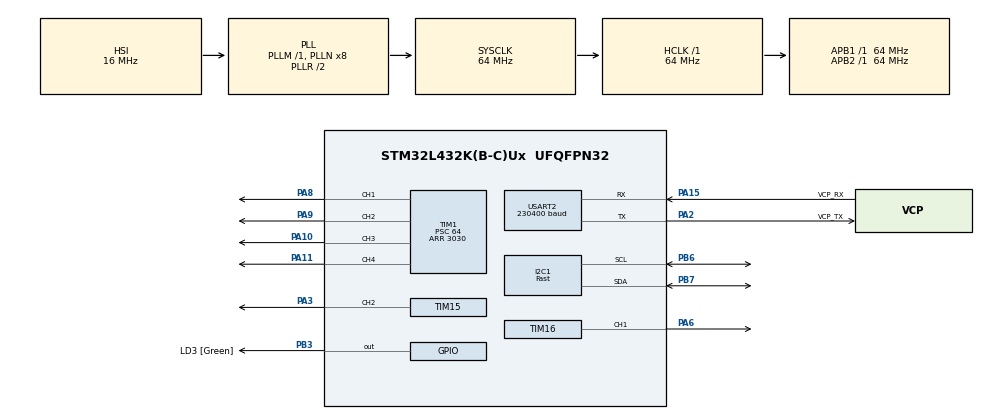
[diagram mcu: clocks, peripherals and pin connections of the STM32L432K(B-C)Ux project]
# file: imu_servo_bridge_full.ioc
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CRC.InputDataFormat=CRC_INPUTDATA_FORMAT_WORDS
I2C1.I2C_Speed_Mode=I2C_Fast
I2C1.Speed=400
I2C1.Timing=0x00602173
Mcu.Family=STM32L4
Mcu.Name=STM32L432K(B-C)Ux
Mcu.Package=UFQFPN32
NVIC.I2C1_ER_IRQn=true\:0\:0\:false\:false\:true\:true\:true\:true
NVIC.I2C1_EV_IRQn=true\:0\:0\:false\:false\:true\:true\:true\:true
NVIC.PriorityGroup=NVIC_PRIORITYGROUP_4
NVIC.TIM6_DAC_IRQn=true\:0\:0\:false\:false\:true\:true\:true\:true
NVIC.USART2_IRQn=true\:0\:0\:false\:false\:true\:true\:true\:true
PA0.GPIO_Label=MCO [High speed clock in]
PA0.Mode=HSE-External-Clock-Source-for-LittleOrca
PA0.Signal=RCC_CK_IN
PA10.Signal=S_TIM1_CH3
PA11.Signal=S_TIM1_CH4
PA13\ (JTMS-SWDIO).GPIO_Label=SWDIO
PA13\ (JTMS-SWDIO).Mode=Serial_Wire
PA13\ (JTMS-SWDIO).Signal=SYS_JTMS-SWDIO
PA14\ (JTCK-SWCLK).GPIO_Label=SWCLK
PA14\ (JTCK-SWCLK).Mode=Serial_Wire
PA14\ (JTCK-SWCLK).Signal=SYS_JTCK-SWCLK
PA15\ (JTDI).GPIO_Label=VCP_RX
PA15\ (JTDI).Mode=Asynchronous
PA15\ (JTDI).Signal=USART2_RX
PA2.GPIO_Label=VCP_TX
PA2.Mode=Asynchronous
PA2.Signal=USART2_TX
PA3.Signal=S_TIM15_CH2
PA6.Signal=S_TIM16_CH1
PA8.Signal=S_TIM1_CH1
PA9.Signal=S_TIM1_CH2
PB3\ (JTDO-TRACESWO).GPIO_Label=LD3 [Green]
PB3\ (JTDO-TRACESWO).Signal=GPIO_Output
PB6.GPIO_Pu=GPIO_PULLUP
PB6.Mode=I2C
PB6.Signal=I2C1_SCL
PB7.GPIO_Pu=GPIO_PULLUP
PB7.Mode=I2C
PB7.Signal=I2C1_SDA
PC14-OSC32_IN\ (PC14).Mode=LSE-External-Oscillator
PC14-OSC32_IN\ (PC14).Signal=RCC_OSC32_IN
PC15-OSC32_OUT\ (PC15).Mode=LSE-External-Oscillator
PC15-OSC32_OUT\ (PC15).Signal=RCC_OSC32_OUT
ProjectManager.HeapSize=0x200
ProjectManager.StackSize=0x400
ProjectManager.TargetToolchain=SW4STM32
RCC.ADCFreq_Value=64000000
RCC.AHBFreq_Value=64000000
RCC.APB1Freq_Value=64000000
RCC.APB1TimFreq_Value=64000000
RCC.APB2Freq_Value=64000000
RCC.APB2TimFreq_Value=64000000
RCC.CortexFreq_Value=64000000
RCC.HCLKFreq_Value=64000000
RCC.HSE_VALUE=8000000
RCC.HSI16_VALUE=16000000
RCC.HSI48_VALUE=48000000
RCC.HSI_VALUE=16000000
RCC.MSI_VALUE=4000000
RCC.PLLMUL=RCC_PLLMUL_4
RCC.PLLSourceVirtual=RCC_PLLSOURCE_HSI
RCC.SYSCLKFreq_VALUE=64000000
RCC.SYSCLKSource=RCC_SYSCLKSOURCE_PLLCLK
RCC.USBFreq_Value=64000000
RCC.VCOOutputFreq_Value=128000000
SH.S_TIM15_CH2.0=TIM15_CH2,PWM Generation2 CH2
SH.S_TIM16_CH1.0=TIM16_CH1,PWM Generation1 CH1
SH.S_TIM1_CH1.0=TIM1_CH1,PWM Generation1 CH1
SH.S_TIM1_CH2.0=TIM1_CH2,PWM Generation2 CH2
SH.S_TIM1_CH3.0=TIM1_CH3,PWM Generation3 CH3
SH.S_TIM1_CH4.0=TIM1_CH4,PWM Generation4 CH4
TIM1.Channel-PWM\ Generation1\ CH1=TIM_CHANNEL_1
TIM1.Channel-PWM\ Generation2\ CH2=TIM_CHANNEL_2
TIM1.Channel-PWM\ Generation3\ CH3=TIM_CHANNEL_3
TIM1.Channel-PWM\ Generation4\ CH4=TIM_CHANNEL_4
TIM1.Period=3030
TIM1.Prescaler=64
TIM15.Channel-PWM\ Generation2\ CH2=TIM_CHANNEL_2
TIM15.Period=3030
TIM15.Prescaler=64
TIM16.Channel=TIM_CHANNEL_1
TIM16.Period=3030
TIM16.Prescaler=64
TIM6.Period=6400
USART2.BaudRate=230400
USART2.DMADisableonRxErrorParam=ADVFEATURE_DMA_DISABLEONRXERROR
USART2.OverrunDisableParam=ADVFEATURE_OVERRUN_DISABLE
USART2.VirtualMode-Asynchronous=VM_ASYNC
VP_CRC_VS_CRC.Mode=CRC_Activate
VP_TIM15_VS_ClockSourceINT.Mode=Internal
VP_TIM16_VS_ClockSourceINT.Mode=Enable_Timer
VP_TIM6_VS_ClockSourceINT.Mode=Enable_Timer
board=NUCLEO-L432KC

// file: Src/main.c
/* USER CODE BEGIN Header */
/**
  ******************************************************************************
  * @file           : main.c
  * @brief          : Main program body
  ******************************************************************************
  * @attention
  *
  * Copyright (c) 2022 STMicroelectronics.
  * All rights reserved.
  *
  * This software is licensed under terms that can be found in the LICENSE file
  * in the root directory of this software component.
  * If no LICENSE file comes with this software, it is provided AS-IS.
  *
  ******************************************************************************
  */
/* USER CODE END Header */
#include "main.h"
#include "crc.h"
#include "i2c.h"
#include "tim.h"
#include "usart.h"
#include "gpio.h"

/* USER CODE BEGIN Includes */
#include "crc.h"
#include "../app/imu_helper.h"
#include "../component/MPU6050/MPU6050.h"
#include <stdint.h>
#include <string.h>
#include <stdio.h>
#include <cmath>
/* USER CODE END Includes */

/* USER CODE BEGIN PD */
 #define max(a,b) \
   ({ __typeof__ (a) _a = (a); \
       __typeof__ (b) _b = (b); \
     _a > _b ? _a : _b; })

 #define min(a,b) \
   ({ __typeof__ (a) _a = (a); \
       __typeof__ (b) _b = (b); \
     _a < _b ? _a : _b; })

/* USER CODE END PD */

void SystemClock_Config(void);

/* USER CODE BEGIN 0 */
#define NUM_PWM_SERVOS 6
#define PWM_SERVO_PACKET_SIZE (NUM_PWM_SERVOS * 2)
#define UART_RX_BUF_SIZE ((PWM_SERVO_PACKET_SIZE + 1) * 3)

volatile uint8_t uart_tx_buf[32] = { 0 },
		         uart_rx_buf[UART_RX_BUF_SIZE] = { 0 },
				 uart_rx_crc_buf[UART_RX_BUF_SIZE] = { 0 };
				 // uart_rx_valid_buf[UART_RX_BUF_SIZE] = { 0 };
volatile uint32_t uart_rx_buf_idx = 0,
		          uart_rx_munched_idx = 0;

extern CRC_HandleTypeDef hcrc;
extern TIM_HandleTypeDef htim1;
extern TIM_HandleTypeDef htim6;
extern TIM_HandleTypeDef htim15;
extern TIM_HandleTypeDef htim16;

volatile uint32_t *servo_ccrs[NUM_PWM_SERVOS] = {
	&TIM1->CCR1,
	&TIM1->CCR2,
	&TIM1->CCR3,
	&TIM1->CCR4,
	&TIM15->CCR2,
	&TIM16->CCR1,
};
/* USER CODE END 0 */

int main(void)
{

  /* MCU Configuration--------------------------------------------------------*/

  /* Reset of all peripherals, Initializes the Flash interface and the Systick. */
  HAL_Init();

  /* Configure the system clock */
  SystemClock_Config();

  /* Initialize all configured peripherals */
  MX_GPIO_Init();
  MX_USART2_UART_Init();
  MX_I2C1_Init();
  MX_TIM6_Init();
  MX_TIM1_Init();
  MX_TIM15_Init();
  MX_TIM16_Init();
  MX_CRC_Init();
  /* USER CODE BEGIN 2 */

  HAL_TIM_Base_Start(&htim1);
  HAL_TIM_Base_Start(&htim6);
  HAL_TIM_Base_Start(&htim15);
  HAL_TIM_Base_Start(&htim16);

  soccerbot::app::initImuProcessor();

  for(uint8_t i = 0; i < NUM_PWM_SERVOS; i++) {
	  *servo_ccrs[i] = 0; // __HAL_TIM_GET_AUTORELOAD(&htim1) / 2;
  }
  htim1.Instance->BDTR |= TIM_BDTR_MOE;
  htim1.Instance->CCER |= TIM_CCER_CC1E | TIM_CCER_CC2E | TIM_CCER_CC3E | TIM_CCER_CC4E;
  htim15.Instance->BDTR |= TIM_BDTR_MOE;
  htim15.Instance->CCER |= TIM_CCER_CC2E;
  htim16.Instance->BDTR |= TIM_BDTR_MOE;
  htim16.Instance->CCER |= TIM_CCER_CC1E;

  /* USER CODE END 2 */

  /* Infinite loop */
  /* USER CODE BEGIN WHILE */
    imu::ImuStruct_t imu_data = { 0 };
	imu::MPU6050 imu(&hi2c1);
	constexpr uint8_t IMU_DIGITAL_LOWPASS_FILTER_SETTING = 6;
	imu.init(IMU_DIGITAL_LOWPASS_FILTER_SETTING);
	uint32_t last_tx_tick = 0, last_rx_tick = 0, num_samples = 0;
	float PACKET_HEADER = NAN; // nanf("");
	for (uint32_t iter = 0;; iter++)
	{
    /* USER CODE END WHILE */

    /* USER CODE BEGIN 3 */
		uint32_t tick = HAL_GetTick();
		if(1) {
			// WRITE BLOCK
			if(tick > last_tx_tick + 1) { // reliable enough 500Hz if most of the time is spent in the busy wait and the conditional stuff doesn't take more than a few 100 us
				last_tx_tick = tick;
				uint8_t valid_gyro = soccerbot::app::readFromSensor(imu, &num_samples);
				imu.Fill_Struct(&imu_data);
				if(valid_gyro) {
					soccerbot::app::processImuData(imu_data);
				}
				if(1) {
					// HAL_UART_Transmit_IT(&huart2, (uint8_t*)&PACKET_HEADER, sizeof(PACKET_HEADER));
					memcpy((void*)uart_tx_buf, &PACKET_HEADER, sizeof(PACKET_HEADER));
					memcpy((void*)(&uart_tx_buf[sizeof(PACKET_HEADER)]), &imu_data.x_Gyro, sizeof(imu_data));
					HAL_UART_Transmit_IT(&huart2, (uint8_t*)uart_tx_buf, sizeof(PACKET_HEADER) + sizeof(imu_data));
				}
				if(0) {
					char buf[64] = { 0 };
					size_t n = sprintf(buf, "%ld\t%.2f\t%.2f\r\n", HAL_GetTick(), imu_data.z_Accel, imu_data.z_Gyro);
					HAL_UART_Transmit_IT(&huart2, (const uint8_t*)buf, n);
				}
			}
		}

		{
			if(tick > last_rx_tick) { // ~1kHz poll
				last_rx_tick = tick;
				volatile uint8_t uart_rx_buf_stash[UART_RX_BUF_SIZE] = { 0 };
				volatile uint16_t read_size = huart2.RxXferSize - huart2.RxXferCount;
				memcpy((void*)uart_rx_buf_stash, (void*)uart_rx_buf, read_size);
				HAL_StatusTypeDef status = HAL_UART_Receive_IT(&huart2, (uint8_t*)&uart_rx_buf, UART_RX_BUF_SIZE);
				uint16_t ccrs[NUM_PWM_SERVOS] = { 0 };
				uint8_t _crc_valid = 0;
				for(uint8_t i = NUM_PWM_SERVOS * 2; i < UART_RX_BUF_SIZE; i++) {
					if((uart_rx_buf_stash[i % UART_RX_BUF_SIZE] >> 6) == 0b01) {
						uint32_t idx0 = i - PWM_SERVO_PACKET_SIZE;
						memcpy((void*)uart_rx_crc_buf, (void*)&uart_rx_buf_stash[idx0], PWM_SERVO_PACKET_SIZE);
						volatile uint16_t n_crc32 = ((max(PWM_SERVO_PACKET_SIZE, 1) - 1) / 4) + 1;
						volatile uint8_t crc = HAL_CRC_Calculate(&hcrc, (uint32_t*)uart_rx_crc_buf, n_crc32);
						if(((crc ^ uart_rx_buf_stash[i]) & 0x3F) == 0) {
							_crc_valid = 1;
							for(uint8_t servo_idx = 0; servo_idx < NUM_PWM_SERVOS; servo_idx++) {
								uint32_t ccr = (uart_rx_buf_stash[(idx0 + servo_idx * 2)]) & 0x3F;
								ccr |= ((uint16_t)uart_rx_buf_stash[(idx0 + servo_idx * 2 + 1)] & 0x3F) << 6;
								ccrs[servo_idx] = SERVO0 + (ccr * SERVO_RANGE) / 0xFFF; // (uint32_t)(uart_rx_buf[(uart_rx_munched_idx + servo_idx) % UART_RX_BUF_SIZE] & 0x7F) * htim1.Instance->ARR / 0x7F;
							}
						}
					}
				}
				if(_crc_valid) {
					for(uint8_t servo_idx = 0; servo_idx < NUM_PWM_SERVOS; servo_idx++) {
						*servo_ccrs[servo_idx] = ccrs[servo_idx];
					}
				}
			}
		}

		if(0) {
			if(tick > last_rx_tick) { // ~1kHz poll
				volatile uint8_t uart_rx_buf_stash[UART_RX_BUF_SIZE] = { 0 };
				last_rx_tick = tick;
				// READ BLOCK

				volatile uint16_t last_read_size = huart2.RxXferSize - huart2.RxXferCount;
				volatile uint8_t next_read_size = UART_RX_BUF_SIZE; // min(, UART_RX_BUF_SIZE - ((uart_rx_buf_idx + last_read_size) % UART_RX_BUF_SIZE));
				HAL_StatusTypeDef status = HAL_UART_Receive_IT(&huart2, (uint8_t*)&uart_rx_buf, next_read_size); // (uart_rx_buf_idx + last_read_size) % UART_RX_BUF_SIZE
				if(status == HAL_OK) {
					uart_rx_buf_idx += last_read_size;
				}

				uint16_t cur_read_size = huart2.RxXferSize - huart2.RxXferCount;
				memcpy((void*)uart_rx_buf_stash, (void*)uart_rx_buf, UART_RX_BUF_SIZE);

				uint32_t eot = uart_rx_buf_idx + cur_read_size;
				for(uint32_t i = uart_rx_munched_idx; i < eot; i++) {
					if(uart_rx_buf_stash[i % UART_RX_BUF_SIZE] & 0x40) {
						// crc_buf = rx_buf[munched_idx:] + rx_buf[:munched_idx]
						uint16_t bytes_to_end = UART_RX_BUF_SIZE - (uart_rx_munched_idx % UART_RX_BUF_SIZE);
						memcpy((void*)uart_rx_crc_buf, (void*)&uart_rx_buf_stash[uart_rx_munched_idx % UART_RX_BUF_SIZE], bytes_to_end);
						memcpy((void*)&uart_rx_crc_buf[bytes_to_end], (void*)uart_rx_buf_stash, uart_rx_munched_idx % UART_RX_BUF_SIZE);

						uint16_t packet_size = (i - uart_rx_munched_idx) % UART_RX_BUF_SIZE;
						{
							memset((void*)&uart_rx_crc_buf[packet_size], 0, UART_RX_BUF_SIZE - packet_size); // excludes bytes past data (including master-calculated CRC)

							volatile uint16_t n_crc32 = ((max(packet_size, 1) - 1) / 4) + 1;
							volatile uint8_t crc = HAL_CRC_Calculate(&hcrc, (uint32_t*)uart_rx_crc_buf, n_crc32);
							uint32_t idx0 = i + (UART_RX_BUF_SIZE - 12);
							if(((crc ^ uart_rx_buf_stash[i % UART_RX_BUF_SIZE]) & 0x3F) == 0) {
								for(uint8_t servo_idx = max(0, 12 - (int32_t)packet_size); servo_idx < NUM_PWM_SERVOS; servo_idx++) {
									uint32_t ccr = (uart_rx_buf_stash[(idx0 + servo_idx * 2) % UART_RX_BUF_SIZE]) & 0x3F;
									ccr |= ((uint16_t)uart_rx_buf_stash[(idx0 + servo_idx * 2 + 1) % UART_RX_BUF_SIZE] & 0x3F) << 6;
									*servo_ccrs[servo_idx] = SERVO0 + (ccr * SERVO_RANGE) / 0xFFF; // (uint32_t)(uart_rx_buf[(uart_rx_munched_idx + servo_idx) % UART_RX_BUF_SIZE] & 0x7F) * htim1.Instance->ARR / 0x7F;
								}
							}
						}
						// possibly count bad packets
						uart_rx_munched_idx = i + 1;
					}
				}
			}
		}
	}
  /* USER CODE END 3 */
}

void SystemClock_Config(void)
{
  RCC_OscInitTypeDef RCC_OscInitStruct = {0};
  RCC_ClkInitTypeDef RCC_ClkInitStruct = {0};

  /** Configure the main internal regulator output voltage
  */
  if (HAL_PWREx_ControlVoltageScaling(PWR_REGULATOR_VOLTAGE_SCALE1) != HAL_OK)
  {
    Error_Handler();
  }

  /** Initializes the RCC Oscillators according to the specified parameters
  * in the RCC_OscInitTypeDef structure.
  */
  RCC_OscInitStruct.OscillatorType = RCC_OSCILLATORTYPE_HSI;
  RCC_OscInitStruct.HSIState = RCC_HSI_ON;
  RCC_OscInitStruct.HSICalibrationValue = RCC_HSICALIBRATION_DEFAULT;
  RCC_OscInitStruct.PLL.PLLState = RCC_PLL_ON;
  RCC_OscInitStruct.PLL.PLLSource = RCC_PLLSOURCE_HSI;
  RCC_OscInitStruct.PLL.PLLM = 1;
  RCC_OscInitStruct.PLL.PLLN = 8;
  RCC_OscInitStruct.PLL.PLLP = RCC_PLLP_DIV7;
  RCC_OscInitStruct.PLL.PLLQ = RCC_PLLQ_DIV2;
  RCC_OscInitStruct.PLL.PLLR = RCC_PLLR_DIV2;
  if (HAL_RCC_OscConfig(&RCC_OscInitStruct) != HAL_OK)
  {
    Error_Handler();
  }

  /** Initializes the CPU, AHB and APB buses clocks
  */
  RCC_ClkInitStruct.ClockType = RCC_CLOCKTYPE_HCLK|RCC_CLOCKTYPE_SYSCLK
                              |RCC_CLOCKTYPE_PCLK1|RCC_CLOCKTYPE_PCLK2;
  RCC_ClkInitStruct.SYSCLKSource = RCC_SYSCLKSOURCE_PLLCLK;
  RCC_ClkInitStruct.AHBCLKDivider = RCC_SYSCLK_DIV1;
  RCC_ClkInitStruct.APB1CLKDivider = RCC_HCLK_DIV1;
  RCC_ClkInitStruct.APB2CLKDivider = RCC_HCLK_DIV1;

  if (HAL_RCC_ClockConfig(&RCC_ClkInitStruct, FLASH_LATENCY_3) != HAL_OK)
  {
    Error_Handler();
  }
}

void Error_Handler(void)
{
  __disable_irq();
  while (1)
  {
  }
}
